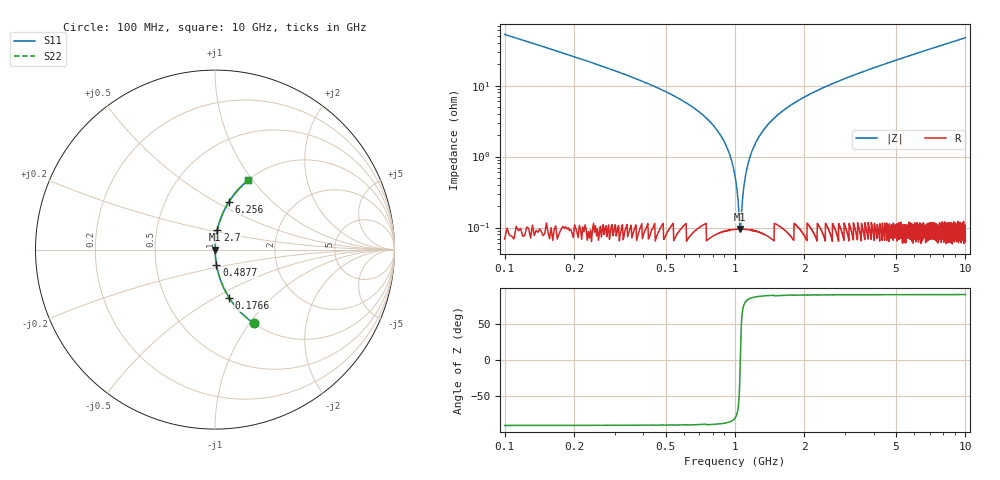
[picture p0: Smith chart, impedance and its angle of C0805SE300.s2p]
! AVX Thin Film Operation		Date: April 2012
! Description: Accu-P® Series, Thin Film, SMD, RF Capacitor
! Part Number: 08053J300FBTTR
!	100	MHz	-	10.05	GHz
!	Serial	Measurements
#	MHZ	S	MA	R	50
!	S11	S21	S12	S22
!	dB	Phase	dB	Phase	dB	Phase	dB	Phase
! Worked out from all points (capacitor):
!   4010 points, 100 MHz to 10 GHz, reference 50 ohm
!   read as one part in series: C = 30 pF near 149.4 MHz
!   lowest |Z| = 95.3 mohm at 1.053 GHz (marker M1)
!   series resonance near 1.054 GHz, so ESL is about 760 pH
!   S11 on the Smith chart (normalised r, x): 100 MHz: 1.00, -1.05; 176.6 MHz: 1.00, -0.58; 487.7 MHz: 1.00, -0.17; 2.7 GHz: 1.00, +0.22; 6.256 GHz: 1.00, +0.58; 10 GHz: 1.00, +0.95
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100  0.465 -62.2  0.885 27.7  0.885 27.7  0.465 -62.2
176.553  0.28 -73.6  0.959 16.3  0.959 16.3  0.28 -73.6
487.703  0.085 -84.5  0.995 4.9  0.995 4.9  0.085 -84.5
732.178  0.037 -86.5  0.998 2.1  0.998 2.1  0.037 -86.5
870.466  0.019 -86.2  0.999 1.1  0.999 1.1  0.019 -86.2
956.897  0.00977 -84.2  0.999 0.6  0.999 0.6  0.00977 -84.2
984.061  0.00696 -82.2  0.999 0.4  0.999 0.4  0.00696 -82.2
1021.103  0.00331 -74.0  0.999 0.2  0.999 0.2  0.00331 -74.0
1053.205  0.000902 -4.3  0.999 0.0  0.999 0.0  0.000902 -4.3
1085.308  0.00309 72.9  0.999 -0.2  0.999 -0.2  0.00309 72.9
1124.819  0.00662 81.8  0.999 -0.4  0.999 -0.4  0.00662 81.8
1159.391  0.00965 84.1  0.999 -0.6  0.999 -0.6  0.00965 84.1
1268.047  0.019 86.2  0.999 -1.1  0.999 -1.1  0.019 86.2
1458.194  0.033 86.5  0.999 -1.9  0.999 -1.9  0.033 86.5
1752.058  0.053 86.0  0.998 -3.1  0.998 -3.1  0.053 86.0
2700.324  0.109 83.3  0.993 -6.2  0.993 -6.2  0.109 83.3
3401.646  0.145 81.3  0.989 -8.3  0.989 -8.3  0.145 81.3
5051.235  0.225 76.8  0.974 -13.0  0.974 -13.0  0.225 76.8
6256.323  0.279 73.6  0.96 -16.2  0.96 -16.2  0.279 73.6
6700.823  0.298 72.5  0.954 -17.3  0.954 -17.3  0.298 72.5
8350.412  0.365 68.5  0.93 -21.4  0.93 -21.4  0.365 68.5
10000  0.427 64.6  0.904 -25.3  0.904 -25.3  0.427 64.6
